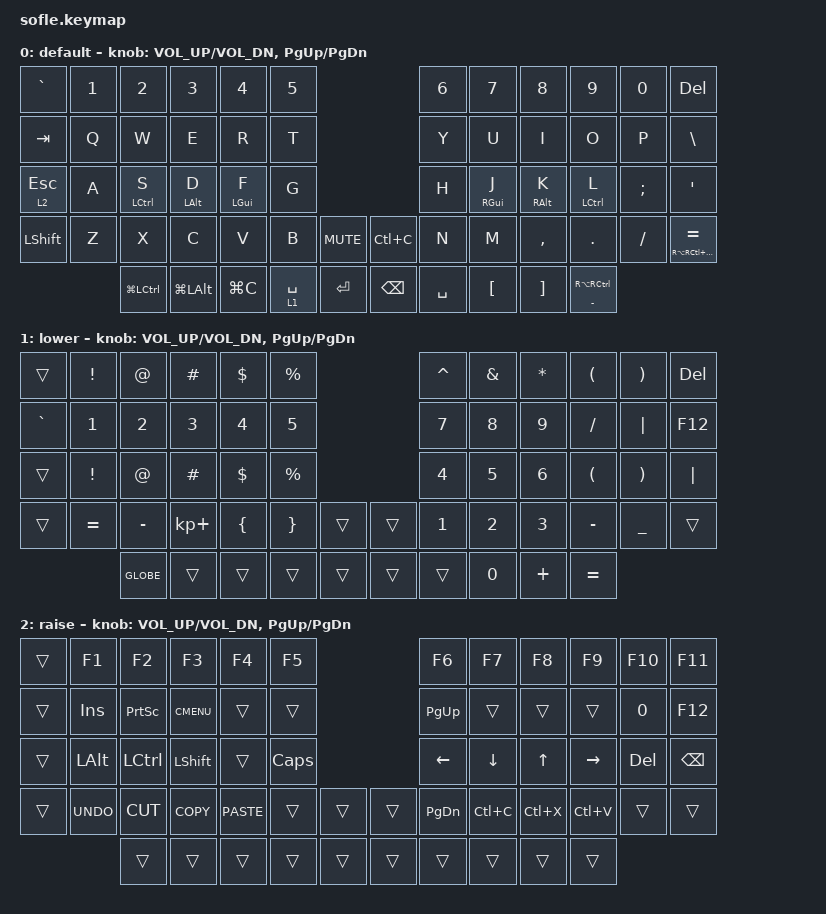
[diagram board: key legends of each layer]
/*
 * Copyright (c) 2020 The ZMK Contributors
 *
 * SPDX-License-Identifier: MIT
 */

#include <behaviors.dtsi>
#include <dt-bindings/zmk/keys.h>

#define BASE 0
#define LOWER 1
#define RAISE 2
#define ADJUST 3

&mt {
    tapping-term-ms = <280>;
    flavor = "balanced";
    hold-trigger-key-positions = <28 27 26 25 31 32 33 34 53 54 55 56>;
    quick-tap-ms = <175>;
    require-prior-idle-ms = <150>;
    hold-trigger-on-release;
};

/ {
    // Activate ADJUST layer by pressing raise and lower

    conditional_layers {
        compatible = "zmk,conditional-layers";

        adjust_layer {
            if-layers = <1 2>;
            then-layer = <3>;
        };
    };

    keymap {
        compatible = "zmk,keymap";

        default_layer {
            label = "default";

            // ------------------------------------------------------------------------------------------------------------
            // |   `   |  1  |  2  |  3   |  4   |  5   |                   |  6   |  7    |  8    |  9   |   0   |       |
            // |  ESC  |  Q  |  W  |  E   |  R   |  T   |                   |  Y   |  U    |  I    |  O   |   P   | BKSPC |
            // |  TAB  |  A  |  S  |  D   |  F   |  G   |                   |  H   |  J    |  K    |  L   |   ;   |   '   |
            // | SHIFT |  Z  |  X  |  C   |  V   |  B   |  MUTE  |  |       |  N   |  M    |  ,    |  .   |   /   | SHIFT |
            //               | GUI | ALT  | CTRL | LOWER|  ENTER |  | SPACE | RAISE| CTRL  | ALT   | GUI  |

            bindings = <
&kp GRAVE     &kp N1  &kp N2         &kp N3          &kp N4          &kp N5                                    &kp N6     &kp N7            &kp N8             &kp N9               &kp N0    &kp DELETE
&kp TAB       &kp Q   &kp W          &kp E           &kp R           &kp T                                     &kp Y      &kp U             &kp I              &kp O                &kp P     &kp BACKSLASH
&lt 2 ESCAPE  &kp A   &mt LCTRL S    &mt LEFT_ALT D  &mt LEFT_GUI F  &kp G                                     &kp H      &mt RGUI J        &mt RALT K         &mt LCTRL L          &kp SEMI  &kp SQT
&kp LSHFT     &kp Z   &kp X          &kp C           &kp V           &kp B        &kp C_MUTE    &kp LC(C)      &kp N      &kp M             &kp COMMA          &kp DOT              &kp FSLH  &mt RA(RC(RIGHT_GUI)) EQUAL
                      &kp LG(LCTRL)  &kp LG(LALT)    &kp LG(C)       &lt 1 SPACE  &kp RET       &kp BACKSPACE  &kp SPACE  &kp LEFT_BRACKET  &kp RIGHT_BRACKET  &mt MINUS RA(RCTRL)
            >;

            sensor-bindings = <&inc_dec_kp C_VOL_UP C_VOL_DN &inc_dec_kp PG_UP PG_DN>;
        };

        lower_layer {
            label = "lower";

            // TODO: Some binds are waiting for shifted keycode support.
            // ------------------------------------------------------------------------------------------------------------
            // |       |  F1 |  F2 |  F3  |  F4  |  F5  |                   |  F6  |  F7   |  F8   |  F9  |  F10  |  F11  |
            // |   `   |  1  |  2  |  3   |  4   |  5   |                   |  6   |  7    |  8    |  9   |   0   |  F12  |
            // |       |  !  |  @  |  #   |  $   |  %   |                   |  ^   |  &    |  *    |  (   |   )   |   |   |
            // |       |  =  |  -  |  +   |  {   |  }   |        |  |       |  [   |  ]    |  ;    |  :   |   \   |       |
            //               |     |      |      |      |        |  |       |      |       |       |      |

            bindings = <
&trans     &kp EXCLAMATION  &kp AT_SIGN  &kp HASH     &kp DOLLAR  &kp PERCENT                    &kp CARET     &kp AMPERSAND  &kp ASTERISK  &kp LEFT_PARENTHESIS  &kp RIGHT_PARENTHESIS  &kp DELETE
&kp GRAVE  &kp N1           &kp N2       &kp N3       &kp N4      &kp N5                         &kp N7        &kp NUMBER_8   &kp N9        &kp SLASH             &kp PIPE               &kp F12
&trans     &kp EXCL         &kp AT       &kp HASH     &kp DLLR    &kp PRCNT                      &kp N4        &kp N5         &kp N6        &kp LPAR              &kp RPAR               &kp PIPE
&trans     &kp EQUAL        &kp MINUS    &kp KP_PLUS  &kp LBRC    &kp RBRC     &trans    &trans  &kp NUMBER_1  &kp NUMBER_2   &kp NUMBER_3  &kp MINUS             &kp UNDERSCORE         &trans
                            &kp GLOBE    &trans       &trans      &trans       &trans    &trans  &trans        &kp N0         &kp PLUS      &kp EQUAL
            >;

            sensor-bindings = <&inc_dec_kp C_VOL_UP C_VOL_DN &inc_dec_kp PG_UP PG_DN>;
        };

        raise_layer {
            label = "raise";

            // ------------------------------------------------------------------------------------------------------------
            // | BTCLR | BT1  | BT2  |  BT3  |  BT4  |  BT5 |                |      |      |       |      |       |       |
            // |       | INS  | PSCR | GUI   |       |      |                | PGUP |      |   ^   |      |       |       |
            // |       | ALT  | CTRL | SHIFT |       | CAPS |                | PGDN |   <- |   v   |  ->  |  DEL  | BKSPC |
            // |       | UNDO | CUT  | COPY  | PASTE |      |      |  |      |      |      |       |      |       |       |
            //                |      |       |       |      |      |  |      |      |      |       |      |

            bindings = <
&trans  &kp F1      &kp F2     &kp F3       &kp F4       &kp F5                      &kp F6          &kp F7          &kp F8        &kp F9     &kp F10  &kp F11
&trans  &kp INS     &kp PSCRN  &kp K_CMENU  &trans       &trans                      &kp PG_UP       &trans          &trans        &trans     &kp N0   &kp F12
&trans  &kp LALT    &kp LCTRL  &kp LSHFT    &trans       &kp CLCK                    &kp LEFT_ARROW  &kp DOWN_ARROW  &kp UP_ARROW  &kp RIGHT  &kp DEL  &kp BSPC
&trans  &kp K_UNDO  &kp K_CUT  &kp K_COPY   &kp K_PASTE  &trans    &trans    &trans  &kp PAGE_DOWN   &kp LC(C)       &kp LC(X)     &kp LC(V)  &trans   &trans
                    &trans     &trans       &trans       &trans    &trans    &trans  &trans          &trans          &trans        &trans
            >;

            sensor-bindings = <&inc_dec_kp C_VOL_UP C_VOL_DN &inc_dec_kp PG_UP PG_DN>;
        };
    };
};
